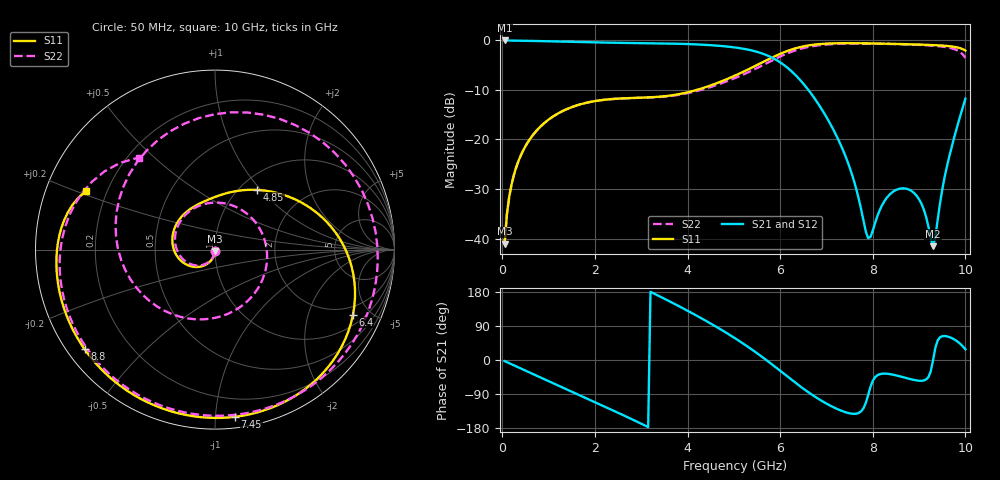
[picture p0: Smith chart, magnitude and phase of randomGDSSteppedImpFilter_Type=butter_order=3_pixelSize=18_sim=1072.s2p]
! freq	dB(S11)	phase(S11)	dB(S12)	phase(S12)
!  dB(S21)	phase(S21)	dB(S22)	phase(S22)
!S-par simulation data
#  GHz  S  DB  R 50
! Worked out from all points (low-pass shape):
!   200 points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, 50 MHz to 10 GHz, reference 50 ohm
!   highest |S21| = -0.01 dB at 50 MHz (marker M1); lowest = -41.5 dB at 9.3 GHz (marker M2)
!   |S21| within 3 dB of the highest: start of sweep to 5.715 GHz
!   lowest |S11| = -41.0 dB at 50 MHz (marker M3), VSWR 1.02, Z = 50 - j0.888 ohm
!   |S11| at or under -10 dB: start of sweep to 4.196 GHz
!   |S22| runs from -41.0 to -0.6 dB; largest |S21 - S12| = 0
!   S11 on the Smith chart (normalised r, x): 50 MHz: 1.00, -0.02; 4.85 GHz: 1.20, +0.95; 6.4 GHz: 1.51, -3.92; 7.45 GHz: 0.07, -1.12; 8.8 GHz: 0.05, -0.34; 10 GHz: 0.12, +0.21
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0.05  -41.02 -92.1  -0.01 -2.9  -0.01 -2.9  -41.01 -92.3
0.2  -29.09 -100.6  -0.02 -11.3  -0.02 -11.3  -29.09 -101.7
0.5  -21.36 -117.1  -0.07 -28.0  -0.07 -28.0  -21.36 -119.8
1.15  -15.04 -151.2  -0.22 -64.0  -0.22 -64.0  -15.04 -158.4
1.75  -12.74 178.8  -0.35 -97.2  -0.35 -97.2  -12.74 165.2
2.65  -11.68 137.7  -0.49 -147.7  -0.49 -147.7  -11.69 105.3
3.4  -11.36 108.3  -0.59 167.9  -0.59 167.9  -11.43 46.1
4.2  -9.99 80.0  -0.80 116.8  -0.80 116.8  -10.21 -27.5
4.85  -7.81 54.9  -1.23 70.8  -1.23 70.8  -8.24 -94.8
5.05  -7.00 46.5  -1.45 55.5  -1.45 55.5  -7.50 -117.5
5.75  -3.80 13.3  -3.14 -4.7  -3.14 -4.7  -4.40 152.4
6.1  -2.32 -6.8  -5.08 -38.2  -5.08 -38.2  -2.83 103.7
6.4  -1.41 -25.2  -7.67 -66.6  -7.67 -66.6  -1.80 63.6
6.7  -0.89 -43.4  -11.14 -92.6  -11.14 -92.6  -1.16 27.5
7.05  -0.62 -63.0  -16.30 -118.3  -16.30 -118.3  -0.79 -8.5
7.45  -0.55 -83.2  -24.33 -139.2  -24.33 -139.2  -0.65 -42.7
7.9  -0.59 -103.8  -39.91 -92.6  -39.91 -92.6  -0.64 -74.9
8.35  -0.67 -123.4  -31.26 -36.8  -31.26 -36.8  -0.71 -103.3
8.8  -0.78 -142.6  -30.19 -50.1  -30.19 -50.1  -0.83 -130.4
9.3  -0.94 -165.0  -41.54 -1.9  -41.54 -1.9  -1.06 -161.9
9.7  -1.21 174.6  -21.65 58.2  -21.65 58.2  -1.58 166.9
10  -2.05 155.7  -11.78 28.2  -11.78 28.2  -3.53 129.7
